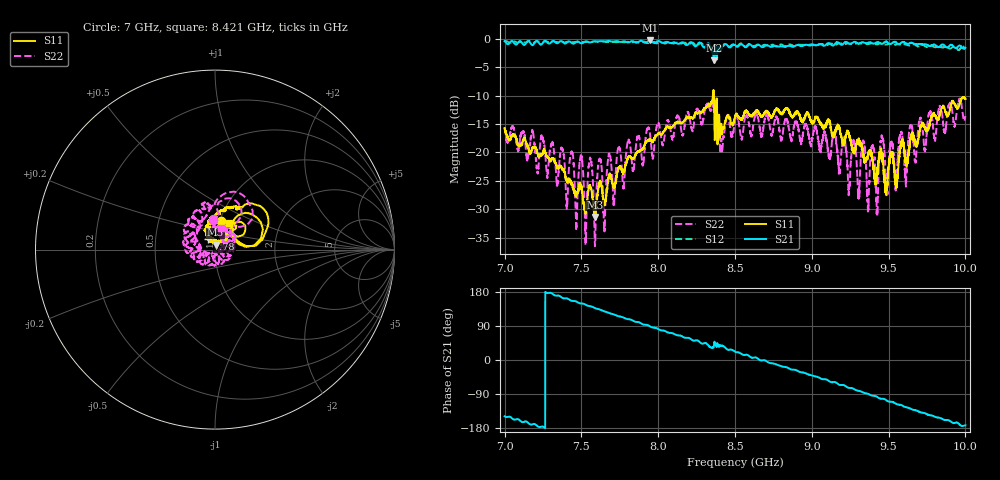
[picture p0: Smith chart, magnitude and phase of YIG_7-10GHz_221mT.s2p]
#  HZ  S  RI  R  50.0
! Rohde & Schwarz ZVL13 2Ports - Version 3.31 - 1303.6509k13 SN: 101088
! Date: 2023-03-06 15:27:51
! Data & Calibration Information:
! Trc4:S11(TOSM) Trc2:S21(TOSM) Trc3:S12(TOSM) Trc5:S22(TOSM)
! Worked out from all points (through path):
!   4000 points, 7 GHz to 10 GHz, reference 50 ohm
!   highest |S21| = -0.33 dB at 7.945 GHz (marker M1); lowest = -3.8 dB at 8.363 GHz (marker M2)
!   group delay of S21, straight-line fit = 357 ps
!   lowest |S11| = -31.3 dB at 7.587 GHz (marker M3), VSWR 1.06, Z = 50.3 + j2.71 ohm
!   |S11| at or under -10 dB: start of sweep to 8.356 GHz; 8.363 GHz to end of sweep
!   |S22| runs from -36.5 to -9.3 dB; largest |S21 - S12| = 0.11
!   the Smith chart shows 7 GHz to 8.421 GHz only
!   S11 on the Smith chart (normalised r, x): 7 GHz: 1.02, +0.33; 7.78 GHz: 0.92, +0.11; 8.421 GHz: 1.12, +0.34
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7e9  0.0359 0.159  -0.811 -0.4957  -0.7715 -0.5368  -0.0128 0.1652
7.374344e9  0.0491 0.0526  -0.9067 0.2549  -0.9091 0.2411  0.1056 0.0325
7.405101e9  0.0387 0.0424  -0.879 0.2755  -0.8908 0.2883  0.0312 -0.00327
7.435859e9  0.035 0.041  -0.8392 0.3711  -0.8574 0.3657  0.1012 -0.00964
7.466617e9  0.0294 0.0283  -0.8416 0.4045  -0.8427 0.4151  0.0226 -0.00254
7.500375e9  0.0208 0.0465  -0.7777 0.4671  -0.7935 0.4845  0.0823 -0.0425
7.525131e9  0.0128 0.0266  -0.7818 0.5232  -0.7753 0.5291  0.0198 -0.00763
7.557389e9  0.00652 0.0499  -0.73 0.5701  -0.7229 0.5859  0.0339 -0.0806
7.586647e9  0.00327 0.027  -0.6951 0.6417  -0.6898 0.6411  0.00695 -0.0154
7.618905e9  -0.00466 0.0545  -0.6494 0.6902  -0.6336 0.6842  -0.00513 -0.088
7.649662e9  -0.00723 0.0341  -0.5839 0.7389  -0.5821 0.7394  -0.00589 -0.0194
7.68042e9  -0.0147 0.0598  -0.5337 0.7889  -0.5332 0.7682  -0.0475 -0.0836
7.780195e9  -0.0389 0.0574  -0.3329 0.8846  -0.3322 0.8649  -0.0591 -0.00792
7.945236e9  -0.0299 0.1243  0.0138 0.9623  -0.0128 0.9243  -0.1508 -0.019
8e9  -0.0363 0.1433  0.1374 0.9432  0.1004 0.9103  -0.1764 0.0458
8.363091e9  0.2883 0.113  0.4998 0.4058  0.4855 0.3849  0.185 0.2629
8.420855e9  0.0801 0.1456  0.6874 0.514  0.6999 0.5277  0.0317 0.1204
8.500375e9  0.124 0.1645  0.8154 0.3267  0.8086 0.3265  0.0393 0.1872
9e9  0.1864 0.0176  0.662 -0.574  0.6733 -0.5823  0.1245 -0.0198
9.500375e9  0.0747 0.0101  -0.3053 -0.8555  -0.2703 -0.8557  -0.0713 0.0298
9.768192e9  0.1525 0.0985  -0.7098 -0.4859  -0.6878 -0.5356  -0.0615 0.2229
1e10  0.2704 0.1172  -0.8238 -0.1103  -0.8044 -0.0793  0.1296 0.1636
